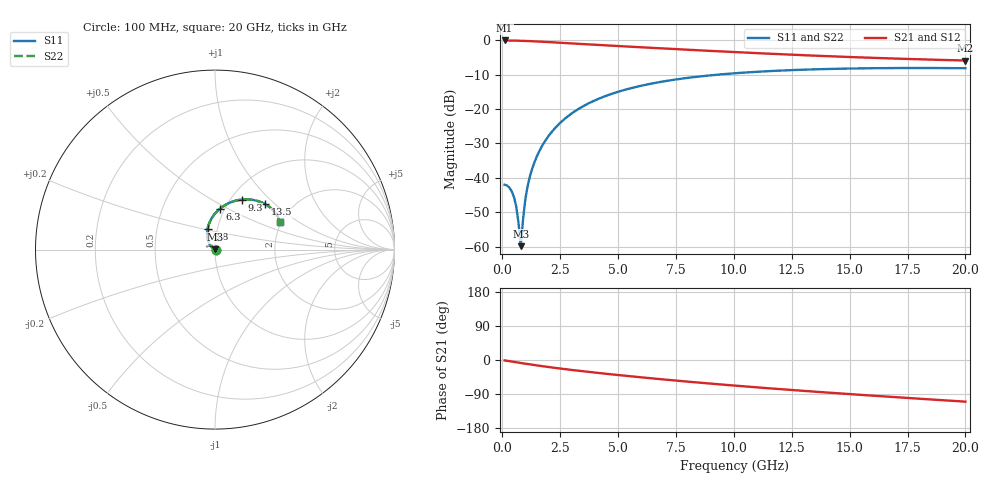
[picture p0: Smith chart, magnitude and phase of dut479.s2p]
! Touchstone file exported from HFSS 2024.1.0
!  File:  C:/UserFiles/LocalFiles/RDL_TSV_Batchsim/temp_RDL_TSV_479_1779732000.aedt
!  Generated:  02:17:19 AM May 26, 2026
!  Design:  RDL_TSV
!  Project:  temp_RDL_TSV_479_1779732000
!  Setup:  Setup1
!  Solution:  Sweep
! Variables:
!  dtsv = 6.28um
!  hbump = 3um
!  htsv = 80.7um
!  ldown = 128.78um
!  lrdl = 210.44um
!  p = 40
!  p1 = 55.3um
!  rhole = 10um
!  subl = 1228.1um
!  t = 450um
!  tdown = 3.58um
!  trdl = 3.02um
!  viad = 10um
!  wdown = 16.1um
!  wrdl = 26.79um
!  xbump = 18um
# GHz S MA R 50.000000
! Terminal data exported
! Port[1] = TM1_1_T1
! Port[2] = TM1_4_T1
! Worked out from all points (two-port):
!   200 points, 100 MHz to 20 GHz, reference 50 ohm
!   highest |S21| = -0.07 dB at 100 MHz (marker M1); lowest = -5.9 dB at 20 GHz (marker M2)
!   |S21| within 3 dB of the highest: start of sweep to 8.896 GHz
!   lowest |S11| = -59.8 dB at 800 MHz (marker M3), VSWR 1.00, Z = 50 + j0.0984 ohm
!   |S11| at or under -10 dB: start of sweep to 9.322 GHz
!   |S22| runs from -59.8 to -8.1 dB; largest |S21 - S12| = 9.2e-15
!   S11 on the Smith chart (normalised r, x): 100 MHz: 1.02, +0.00; 3.8 GHz: 0.90, +0.21; 6.3 GHz: 0.95, +0.46; 9.3 GHz: 1.12, +0.69; 13.5 GHz: 1.48, +0.87; 20 GHz: 1.97, +0.70
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0.1  0.007952 0.7  0.9917 -1.0  0.9917 -1.0  0.007952 0.7
! Gamma 0 0 0 0
! Port Impedance 50 0 50 0
0.3  0.00727 -0.1  0.9899 -3.0  0.9899 -3.0  0.007269 -0.1
0.5  0.005315 -0.9  0.987 -5.0  0.987 -5.0  0.005314 -0.9
0.6  0.00388 1.1  0.9851 -6.0  0.9851 -6.0  0.003879 1.1
0.7  0.002224 10.9  0.983 -6.9  0.983 -6.9  0.002222 10.9
0.8  0.001018 75.1  0.9807 -7.9  0.9807 -7.9  0.001018 75.2
0.9  0.002574 136.1  0.9782 -8.9  0.9782 -8.9  0.002576 136.1
1  0.005014 145.5  0.9754 -9.8  0.9754 -9.8  0.005017 145.5
1.1  0.00775 147.5  0.9724 -10.7  0.9724 -10.7  0.007753 147.5
1.3  0.0139 146.7  0.966 -12.5  0.966 -12.5  0.0139 146.7
1.5  0.02081 144.1  0.9589 -14.3  0.9589 -14.3  0.02081 144.1
2.3  0.05382 131.0  0.9272 -21.0  0.9272 -21.0  0.05383 131.0
3.5  0.1102 113.1  0.8783 -29.8  0.8783 -29.8  0.1102 113.1
3.8  0.1243 109.2  0.8667 -31.9  0.8667 -31.9  0.1244 109.2
6.3  0.2292 83.2  0.7792 -47.5  0.7792 -47.5  0.2293 83.2
6.8  0.2466 79.0  0.7634 -50.4  0.7634 -50.4  0.2467 79.0
9.3  0.3157 61.9  0.6912 -63.9  0.6912 -63.9  0.3158 61.9
10.1  0.3321 57.4  0.6705 -67.9  0.6705 -67.9  0.3322 57.4
13.4  0.3767 42.3  0.598 -83.2  0.598 -83.2  0.3768 42.3
13.5  0.3776 41.9  0.5961 -83.6  0.5961 -83.6  0.3777 41.9
16.7  0.3936 31.1  0.5445 -97.0  0.5445 -97.0  0.3937 31.1
20  0.3918 22.7  0.507 -109.9  0.507 -109.9  0.3919 22.7
